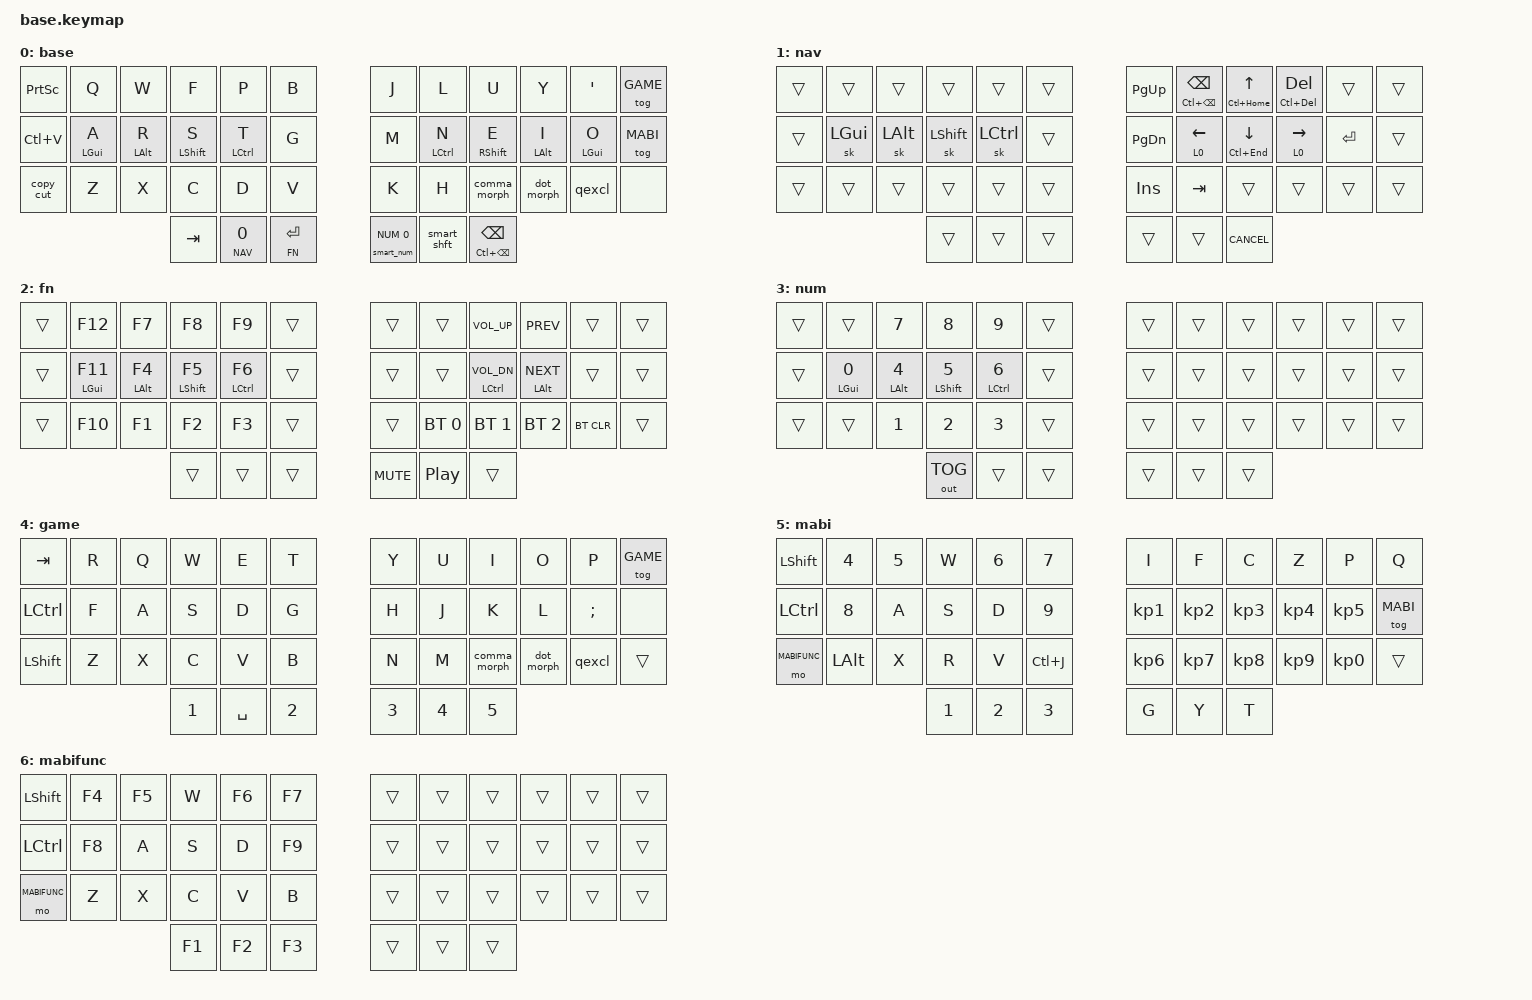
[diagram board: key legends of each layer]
#include <behaviors.dtsi>
#include <behaviors/num_word.dtsi>

#include <dt-bindings/zmk/keys.h>
#include <dt-bindings/zmk/outputs.h>
#if CONFIG_WIRELESS
    #include <dt-bindings/zmk/bt.h>
    #define _BT_SEL_KEYS_ \
    &bt BT_SEL 0 &bt BT_SEL 1 &bt BT_SEL 2 &bt BT_SEL 3 &bt BT_CLR
#else
    #define _BT_SEL_KEYS_ &trans &trans &trans &trans &trans
#endif

#include "zmk-helpers/helper.h"

#define DEF 0
#define NAV 1
#define FN 2
#define NUM 3
#define GAME 4
#define MABI 5
#define MABIFUNC 6

#define XXX &none
#define ___ &trans

/* Global settings */

#define QUICK_TAP_MS 175

&sk {  // sticky-key config
    release-after-ms = <900>;  // release after 0.6s
    quick-release;             // no double capitalization when rolling keys
};

&sl {  // sticky-layer config
    ignore-modifiers;          // allow chording sticky mods & layers
};

&lt {  // layer-tap config
    flavor = "balanced";
    tapping-term-ms = <200>;
    quick-tap-ms = <QUICK_TAP_MS>;
};

/* Homerow mods */

#define KEYS_L LT0 LT1 LT2 LT3 LT4 LM0 LM1 LM2 LM3 LM4 LB0 LB1 LB2 LB3 LB4  // left hand
#define KEYS_R RT0 RT1 RT2 RT3 RT4 RM0 RM1 RM2 RM3 RM4 RB0 RB1 RB2 RB3 RB4  // right hand
#define THUMBS LH2 LH1 LH0 RH0 RH1 RH2                                      // thumbs

#define MAKE_HRM(NAME, HOLD, TAP, TRIGGER_POS)                                 \
  ZMK_HOLD_TAP(NAME, bindings = <HOLD>, <TAP>; flavor = "balanced";            \
               tapping-term-ms = <280>; quick-tap-ms = <QUICK_TAP_MS>;         \
               require-prior-idle-ms = <150>; hold-trigger-on-release;         \
               hold-trigger-key-positions = <TRIGGER_POS>;)

MAKE_HRM(hml, &kp, &kp, KEYS_R THUMBS) // Left-hand HRMs.
MAKE_HRM(hmr, &kp, &kp, KEYS_L THUMBS) // Right-hand HRMs.

// Hack: Make HRM combos tap-only (cf, ZMK issue #544).
#define ZMK_COMBO_8(NAME, TAP, POS, LAYERS, COMBO_MS, IDLE_MS, HOLD, SIDE)     \
  MAKE_HRM(hm_combo_##NAME, &kp, TAP, SIDE THUMBS)                             \
  ZMK_COMBO_6(NAME, &hm_combo_##NAME HOLD 0, POS, LAYERS, COMBO_MS, IDLE_MS)

/* Combos, leader key sequences, mouse emulation */

#include "combos.dtsi" // Must be sourced after HRM-combo hack.

/* Nav cluster */

// Trigger tap-action on all interrupts.
#define MT_CORE                                                                \
  flavor = "tap-preferred";                                                    \
  tapping-term-ms = <220>;                                                     \
  quick-tap-ms = <220>;                                                        \
  hold-trigger-key-positions = <0>;

&mt { MT_CORE };
ZMK_HOLD_TAP(mt_home, bindings = <&masked_home>, <&kp>; MT_CORE)
ZMK_HOLD_TAP(mt_end, bindings = <&masked_end>, <&kp>; MT_CORE)

#define NAV_LEFT  &mt_home 0   LEFT    // tap: left  | long-tap: beginning of line
#define NAV_RIGHT &mt_end 0    RIGHT   // tap: right | long-tap: end       of line
#define NAV_UP    &mt LC(HOME) UP      // tap: up    | long-tap: beginning of document
#define NAV_DOWN  &mt LC(END)  DOWN    // tap: down  | long-tap: end       of document
#define NAV_BSPC  &mt LC(BSPC) BSPC    // tap: bspc  | long-tap: delete word backward
#define NAV_DEL   &mt LC(DEL)  DEL     // tap: del   | long-tap: delete word forward

// Mask CTRL on left/right hold to avoid accidental jumps to start/end of doc.
#define MASK_MODS(NAME, MODS, BINDING)                                         \
  ZMK_MOD_MORPH(NAME, bindings = <BINDING>, <BINDING>; mods = <MODS>;)

MASK_MODS(masked_home, (MOD_LCTL), &kp HOME)
MASK_MODS(masked_end,  (MOD_LCTL), &kp END)

/* Caps-word & auto-layers */

// Tap: sticky-shift | Shift + tap/ double-tap: caps-word | Hold: shift.
ZMK_MOD_MORPH(smart_shft,
  bindings = <&sk LSHFT>, <&caps_word>;
  mods = <(MOD_LSFT)>;
)
&caps_word { // Mods deactivate caps-word, requires PR #1451. [TODO: rebase]
  /delete-property/ ignore-modifiers;
};

// Tap: num-word | double-tap: sticky num-layer | Hold: num-layer.
#define SMART_NUM &smart_num NUM 0
ZMK_HOLD_TAP(smart_num, bindings = <&mo>, <&num_dance>; flavor = "balanced";
             tapping-term-ms = <200>; quick-tap-ms = <QUICK_TAP_MS>;)
ZMK_TAP_DANCE(num_dance, bindings = <&num_word NUM>, <&sl NUM>;
              tapping-term-ms = <200>;)


#define SIMPLE_MORPH(NAME, MOD, BINDING1, BINDING2)                            \
  ZMK_MOD_MORPH(NAME, mods = <(MOD_L##MOD | MOD_R##MOD)>;                      \
                bindings = <BINDING1>, <BINDING2>;)


// tap: comma | shift + tap: semicolon | ctrl + shift + tap: <
SIMPLE_MORPH(comma_morph, SFT, &kp COMMA, &comma_inner_morph)
SIMPLE_MORPH(comma_inner_morph, CTL, &kp SEMICOLON, &kp LESS_THAN)

// tap: dot | shift + tap: colon | ctrl + shift + tap: >
SIMPLE_MORPH(dot_morph, SFT, &kp DOT, &dot_inner_morph)
SIMPLE_MORPH(dot_inner_morph, CTL, &kp COLON, &kp GREATER_THAN)

// tap: qmark | shift + tap: excl
SIMPLE_MORPH(qexcl, SFT, &kp QMARK, &kp EXCL)

// tap: left/right parenthesis | shft + tap: less-than/greater-than
SIMPLE_MORPH(lpar_lt, SFT, &kp LPAR, &kp LT)
SIMPLE_MORPH(rpar_gt, SFT, &kp RPAR, &kp GT)

// Tap: space | Shift + tap: dot -> space -> sticky shift | Hold: nav layer.
ZMK_HOLD_TAP(lt_spc, bindings = <&mo>, <&spc_morph>; flavor = "balanced";
             tapping-term-ms = <200>; quick-tap-ms = <QUICK_TAP_MS>;)
SIMPLE_MORPH(spc_morph, SFT, &kp SPACE, &dot_spc)
ZMK_MACRO(dot_spc, bindings = <&kp DOT &kp SPACE &sk LSHFT>; wait-ms = <0>;
          tap-ms = <5>;)


// Tap: backspace | Lshft + tap: delete | Rshft + tap: shift-delete.
ZMK_MOD_MORPH(bs_del, bindings = <&kp BSPC>, <&kp DEL>;
              mods = <(MOD_LSFT|MOD_RSFT)>; keep-mods = <MOD_RSFT>;)

// Tap: copy | double-tap: cut.
ZMK_TAP_DANCE(copy_cut, bindings = <&kp LC(INS)>, <&kp LC(X)>;
              tapping-term-ms = <200>;)

// misc aliases
#define CANCEL      &kp K_CANCEL             // cancel caps-word and num-word
#define WIN_MNGR    &hmr RSHFT LG(W)
#define VOL_DOWN    &hmr LCTRL C_VOL_DN
#define MEDIA_NEXT  &hmr LALT C_NEXT

/* Keymap */

ZMK_LAYER(base,
//╭────────────┬────────────┬─────────────┬─────────────┬─────────────┬─────────────╮  ╭─────────────┬─────────────┬─────────────┬─────────────┬─────────────┬─────────────╮
    &kp PSCRN    &kp Q         &kp W         &kp F         &kp P         &kp B            &kp J         &kp L         &kp U         &kp Y         &kp SQT       &tog GAME  
//├────────────┼────────────┼─────────────┼─────────────┼─────────────┼─────────────┤  ├─────────────┼─────────────┼─────────────┼─────────────┼─────────────┼─────────────┤
    &kp LC(V)    &hml LGUI A   &hml LALT R   &hml LSHFT S  &hml LCTRL T  &kp G            &kp M         &hmr LCTRL N  &hmr RSHFT E  &hmr LALT I   &hmr LGUI O   &tog MABI  
//├────────────┼────────────┼─────────────┼─────────────┼─────────────┼─────────────┤  ├─────────────┼─────────────┼─────────────┼─────────────┼─────────────┼─────────────┤
    &copy_cut    &kp Z         &kp X         &kp C         &kp D         &kp V            &kp K         &kp H         &comma_morph  &dot_morph    &qexcl        XXX        
//╰────────────┼────────────┼─────────────┴─────────────┼─────────────┼─────────────┤  ├─────────────┼─────────────┼─────────────┴─────────────┴─────────────┴─────────────╯
                                             &kp TAB       &lt_spc NAV 0 &lt FN RET       SMART_NUM     &smart_shft   NAV_BSPC
//                                        ╰─────────────┴─────────────┴─────────────╯  ╰─────────────┴─────────────┴─────────────╯
)

ZMK_LAYER(nav,
//╭────────────┬────────────┬─────────────┬─────────────┬─────────────┬─────────────╮  ╭─────────────┬─────────────┬─────────────┬─────────────┬─────────────┬─────────────╮
    ___           ___           ___           ___           ___          ___              &kp PG_UP     NAV_BSPC      NAV_UP        NAV_DEL       ___           ___        
//├────────────┼────────────┼─────────────┼─────────────┼─────────────┼─────────────┤  ├─────────────┼─────────────┼─────────────┼─────────────┼─────────────┼─────────────┤
    ___           &sk LGUI      &sk LALT      &sk LSHFT     &sk LCTRL    ___              &kp PG_DN     NAV_LEFT      NAV_DOWN      NAV_RIGHT     &kp RET       ___        
//├────────────┼────────────┼─────────────┼─────────────┼─────────────┼─────────────┤  ├─────────────┼─────────────┼─────────────┼─────────────┼─────────────┼─────────────┤
    ___           ___           ___           ___           ___          ___              &kp INS       &kp TAB       ___           ___           ___           ___        
//╰────────────┼────────────┼─────────────┴─────────────┼─────────────┼─────────────┤  ├─────────────┼─────────────┼─────────────┴─────────────┴─────────────┴─────────────╯
                                             ___           ___           ___              ___           ___           CANCEL
//                                        ╰─────────────┴─────────────┴─────────────╯  ╰─────────────┴─────────────┴─────────────╯
)

ZMK_LAYER(fn,
//╭────────────┬────────────┬─────────────┬─────────────┬─────────────┬─────────────╮  ╭─────────────┬─────────────┬─────────────┬─────────────┬─────────────┬─────────────╮
    ___          &kp F12       &kp F7        &kp F8        &kp F9        ___              ___           ___           &kp C_VOL_UP  &kp C_PREV    ___           ___        
//├────────────┼────────────┼─────────────┼─────────────┼─────────────┼─────────────┤  ├─────────────┼─────────────┼─────────────┼─────────────┼─────────────┼─────────────┤
    ___          &hml LGUI F11 &hml LALT F4  &hml LSHFT F5 &hml LCTRL F6 ___              ___           ___           VOL_DOWN      MEDIA_NEXT    ___           ___        
//├────────────┼────────────┼─────────────┼─────────────┼─────────────┼─────────────┤  ├─────────────┼─────────────┼─────────────┼─────────────┼─────────────┼─────────────┤
    ___          &kp F10       &kp F1        &kp F2        &kp F3        ___              ___           &bt BT_SEL 0  &bt BT_SEL 1  &bt BT_SEL 2 &bt BT_CLR     ___        
//╰────────────┼────────────┼─────────────┴─────────────┼─────────────┼─────────────┤  ├─────────────┼─────────────┼─────────────┴─────────────┴─────────────┴─────────────╯
                                             ___           ___           ___              &kp C_MUTE    &kp C_PP      ___        
//                                        ╰─────────────┴─────────────┴─────────────╯  ╰─────────────┴─────────────┴─────────────╯
)

ZMK_LAYER(num,
//╭────────────┬────────────┬─────────────┬─────────────┬─────────────┬─────────────╮  ╭─────────────┬─────────────┬─────────────┬─────────────┬─────────────┬─────────────╮
    ___          ___           &kp N7        &kp N8        &kp N9        ___              ___           ___           ___           ___           ___           ___        
//├────────────┼────────────┼─────────────┼─────────────┼─────────────┼─────────────┤  ├─────────────┼─────────────┼─────────────┼─────────────┼─────────────┼─────────────┤
    ___          &hml LGUI N0  &hml LALT N4  &hml LSHFT N5 &hml LCTRL N6 ___              ___           ___           ___           ___           ___           ___        
//├────────────┼────────────┼─────────────┼─────────────┼─────────────┼─────────────┤  ├─────────────┼─────────────┼─────────────┼─────────────┼─────────────┼─────────────┤
    ___          ___           &kp N1        &kp N2        &kp N3        ___              ___           ___           ___           ___           ___           ___        
//╰────────────┼────────────┼─────────────┴─────────────┼─────────────┼─────────────┤  ├─────────────┼─────────────┼─────────────┴─────────────┴─────────────┴─────────────╯
                                             &out OUT_TOG  ___           ___              ___           ___           ___
//                                        ╰─────────────┴─────────────┴─────────────╯  ╰─────────────┴─────────────┴─────────────╯
)

ZMK_LAYER(game,
//╭────────────┬────────────┬─────────────┬─────────────┬─────────────┬─────────────╮  ╭─────────────┬─────────────┬─────────────┬─────────────┬─────────────┬─────────────╮
    &kp TAB      &kp R         &kp Q         &kp W         &kp E         &kp T            &kp Y         &kp U         &kp I         &kp O         &kp P         &tog GAME  
//├────────────┼────────────┼─────────────┼─────────────┼─────────────┼─────────────┤  ├─────────────┼─────────────┼─────────────┼─────────────┼─────────────┼─────────────┤
    &kp LCTRL    &kp F         &kp A         &kp S         &kp D         &kp G            &kp H         &kp J         &kp K         &kp L         &kp SEMI      XXX        
//├────────────┼────────────┼─────────────┼─────────────┼─────────────┼─────────────┤  ├─────────────┼─────────────┼─────────────┼─────────────┼─────────────┼─────────────┤
    &kp LSHFT    &kp Z         &kp X         &kp C         &kp V         &kp B            &kp N         &kp M         &comma_morph  &dot_morph    &qexcl        ___        
//╰────────────┼────────────┼─────────────┴─────────────┼─────────────┼─────────────┤  ├─────────────┼─────────────┼─────────────┴─────────────┴─────────────┴─────────────╯
                                             &kp N1        &kp SPACE     &kp N2           &kp N3        &kp N4        &kp N5
//                                        ╰─────────────┴─────────────┴─────────────╯  ╰─────────────┴─────────────┴─────────────╯
)

ZMK_LAYER(mabi,
//╭────────────┬────────────┬─────────────┬─────────────┬─────────────┬─────────────╮  ╭─────────────┬─────────────┬─────────────┬─────────────┬─────────────┬─────────────╮
    &kp LSHFT    &kp N4        &kp N5        &kp W         &kp N6        &kp N7           &kp I         &kp F         &kp C         &kp Z         &kp P         &kp Q
//├────────────┼────────────┼─────────────┼─────────────┼─────────────┼─────────────┤  ├─────────────┼─────────────┼─────────────┼─────────────┼─────────────┼─────────────┤
    &kp LCTRL    &kp N8        &kp A         &kp S         &kp D         &kp N9           &kp KP_N1     &kp KP_N2     &kp KP_N3     &kp KP_N4     &kp KP_N5     &tog MABI
//├────────────┼────────────┼─────────────┼─────────────┼─────────────┼─────────────┤  ├─────────────┼─────────────┼─────────────┼─────────────┼─────────────┼─────────────┤
    &mo MABIFUNC  &kp LALT     &kp X         &kp R         &kp V         &kp LC(J)        &kp KP_N6     &kp KP_N7     &kp KP_N8     &kp KP_N9     &kp KP_N0     ___
//╰────────────┼────────────┼─────────────┴─────────────┼─────────────┼─────────────┤  ├─────────────┼─────────────┼─────────────┴─────────────┴─────────────┴─────────────╯
                                             &kp N1        &kp N2        &kp N3           &kp G         &kp Y         &kp T
//                                        ╰─────────────┴─────────────┴─────────────╯  ╰─────────────┴─────────────┴─────────────╯
)

ZMK_LAYER(mabifunc,
//╭────────────┬────────────┬─────────────┬─────────────┬─────────────┬─────────────╮  ╭─────────────┬─────────────┬─────────────┬─────────────┬─────────────┬─────────────╮
    &kp LSHFT    &kp F4        &kp F5        &kp W         &kp F6        &kp F7           ___           ___           ___           ___           ___           ___       
//├────────────┼────────────┼─────────────┼─────────────┼─────────────┼─────────────┤  ├─────────────┼─────────────┼─────────────┼─────────────┼─────────────┼─────────────┤
    &kp LCTRL    &kp F8        &kp A         &kp S         &kp D         &kp F9           ___           ___           ___           ___           ___           ___  
//├────────────┼────────────┼─────────────┼─────────────┼─────────────┼─────────────┤  ├─────────────┼─────────────┼─────────────┼─────────────┼─────────────┼─────────────┤
    &mo MABIFUNC &kp Z         &kp X         &kp C         &kp V         &kp B            ___           ___           ___           ___           ___           ___       
//╰────────────┼────────────┼─────────────┴─────────────┼─────────────┼─────────────┤  ├─────────────┼─────────────┼─────────────┴─────────────┴─────────────┴─────────────╯
                                             &kp F1        &kp F2        &kp F3           ___           ___           ___
//                                        ╰─────────────┴─────────────┴─────────────╯  ╰─────────────┴─────────────┴─────────────╯
)

/* vim: set ft=c tw=174: */
